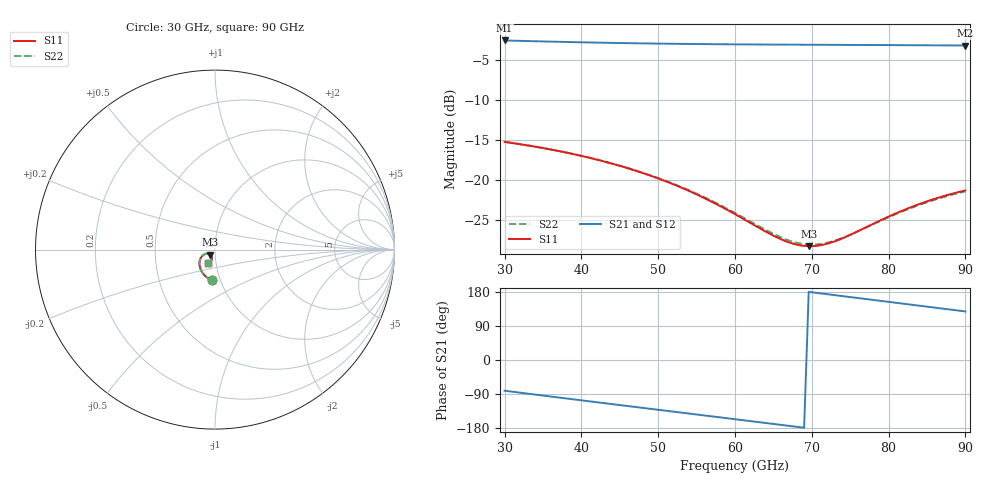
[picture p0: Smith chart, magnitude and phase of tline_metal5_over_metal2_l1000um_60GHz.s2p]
#  GHZ S DB R 50
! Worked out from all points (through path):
!   101 points, 30 GHz to 90 GHz, reference 50 ohm
!   highest |S21| = -2.58 dB at 30 GHz (marker M1); lowest = -3.2 dB at 90 GHz (marker M2)
!   group delay of S21, straight-line fit = 6.96 ps
!   lowest |S11| = -28.3 dB at 69.6 GHz (marker M3), VSWR 1.08, Z = 47.5 - j2.73 ohm
!   |S11| at or under -10 dB: start of sweep to end of sweep
!   |S22| runs from -28.2 to -15.3 dB; largest |S21 - S12| = 8.1e-14
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30  -15.29 -95.3  -2.58 -81.1  -2.58 -81.1  -15.28 -95.3
32.4  -15.63 -102.3  -2.64 -87.2  -2.64 -87.2  -15.62 -102.3
34.8  -16.02 -109.1  -2.70 -93.3  -2.70 -93.3  -16.01 -109.1
37.2  -16.46 -115.6  -2.76 -99.4  -2.76 -99.4  -16.45 -115.6
40.2  -17.08 -123.5  -2.82 -106.9  -2.82 -106.9  -17.07 -123.4
45  -18.29 -135.0  -2.90 -118.9  -2.90 -118.9  -18.26 -135.0
47.4  -19.00 -140.3  -2.94 -124.9  -2.94 -124.9  -18.96 -140.3
50.4  -20.01 -146.1  -2.98 -132.3  -2.98 -132.3  -19.95 -146.1
55.2  -21.95 -153.3  -3.03 -144.3  -3.03 -144.3  -21.86 -153.4
57.6  -23.09 -155.4  -3.05 -150.3  -3.05 -150.3  -22.97 -155.5
60  -24.33 -155.9  -3.07 -156.2  -3.07 -156.2  -24.19 -156.0
63  -25.98 -153.3  -3.09 -163.7  -3.09 -163.7  -25.79 -153.8
66  -27.47 -146.0  -3.10 -171.3  -3.10 -171.3  -27.25 -147.0
67.8  -28.09 -139.3  -3.11 -175.8  -3.11 -175.8  -27.87 -140.7
69.6  -28.34 -131.4  -3.12 179.7  -3.12 179.7  -28.15 -133.3
70.2  -28.33 -128.7  -3.12 178.2  -3.12 178.2  -28.15 -130.7
72  -28.04 -121.2  -3.13 173.7  -3.13 173.7  -27.92 -123.5
73.8  -27.43 -115.1  -3.14 169.1  -3.14 169.1  -27.38 -117.5
76.8  -26.10 -109.0  -3.15 161.6  -3.15 161.6  -26.13 -111.2
80.4  -24.47 -107.1  -3.17 152.4  -3.17 152.4  -24.55 -109.1
85.2  -22.66 -110.1  -3.19 140.3  -3.19 140.3  -22.77 -111.8
90  -21.36 -116.5  -3.22 128.1  -3.22 128.1  -21.48 -118.1
